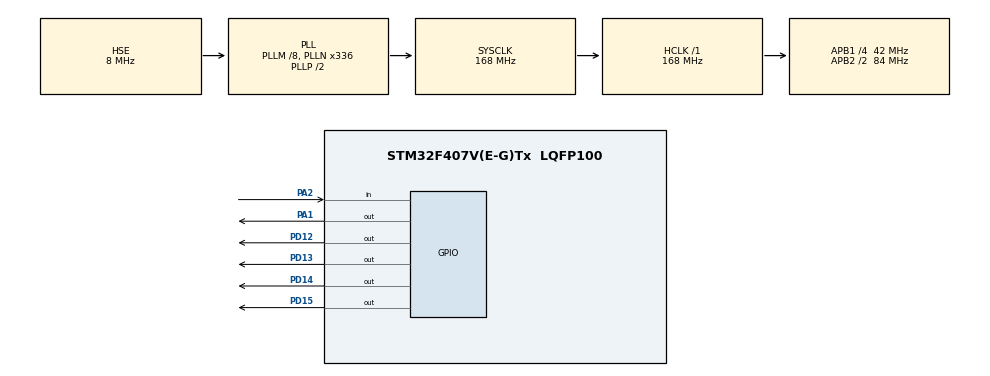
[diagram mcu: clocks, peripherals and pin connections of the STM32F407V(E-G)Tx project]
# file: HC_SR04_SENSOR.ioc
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Mcu.Family=STM32F4
Mcu.Name=STM32F407V(E-G)Tx
Mcu.Package=LQFP100
NVIC.PriorityGroup=NVIC_PRIORITYGROUP_0
PA1.Signal=GPIO_Output
PA2.Signal=GPIO_Input
PD12.Signal=GPIO_Output
PD13.Signal=GPIO_Output
PD14.Signal=GPIO_Output
PD15.Signal=GPIO_Output
PH0-OSC_IN.Mode=HSE-External-Oscillator
PH0-OSC_IN.Signal=RCC_OSC_IN
PH1-OSC_OUT.Mode=HSE-External-Oscillator
PH1-OSC_OUT.Signal=RCC_OSC_OUT
ProjectManager.HeapSize=0x200
ProjectManager.StackSize=0x400
ProjectManager.TargetToolchain=STM32CubeIDE
RCC.48MHZClocksFreq_Value=48000000
RCC.AHBFreq_Value=168000000
RCC.APB1CLKDivider=RCC_HCLK_DIV4
RCC.APB1Freq_Value=42000000
RCC.APB1TimFreq_Value=84000000
RCC.APB2CLKDivider=RCC_HCLK_DIV2
RCC.APB2Freq_Value=84000000
RCC.APB2TimFreq_Value=168000000
RCC.CortexFreq_Value=168000000
RCC.HCLKFreq_Value=168000000
RCC.HSE_VALUE=8000000
RCC.HSI_VALUE=16000000
RCC.PLLM=8
RCC.PLLN=336
RCC.PLLQ=7
RCC.PLLSourceVirtual=RCC_PLLSOURCE_HSE
RCC.SYSCLKFreq_VALUE=168000000
RCC.SYSCLKSource=RCC_SYSCLKSOURCE_PLLCLK
RCC.VCOOutputFreq_Value=336000000
board=STM32F407G-DISC1

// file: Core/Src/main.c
/* USER CODE BEGIN Header */
/**
  ******************************************************************************
  * @file           : main.c
  * @brief          : Main program body
  ******************************************************************************
  * @attention
  *
  * Copyright (c) 2022 STMicroelectronics.
  * All rights reserved.
  *
  * This software is licensed under terms that can be found in the LICENSE file
  * in the root directory of this software component.
  * If no LICENSE file comes with this software, it is provided AS-IS.
  *
  ******************************************************************************
  */
/* USER CODE END Header */
#include "main.h"

/* USER CODE BEGIN Includes */
#include "dwt_stm32_delay.h"
/* USER CODE END Includes */

/* USER CODE BEGIN PV */
uint32_t time;
int16_t distance;
/* USER CODE END PV */

void SystemClock_Config(void);
static void MX_GPIO_Init(void);

/* USER CODE BEGIN 0 */
uint32_t READ_HCSR04(){

uint32_t local_time = 0;

HAL_GPIO_WritePin(GPIOA, GPIO_PIN_1, GPIO_PIN_SET);
DWT_Delay_us(10);
HAL_GPIO_WritePin(GPIOA, GPIO_PIN_1, GPIO_PIN_RESET);

while(!HAL_GPIO_ReadPin(GPIOA, GPIO_PIN_2));

while(HAL_GPIO_ReadPin(GPIOA, GPIO_PIN_2)){
local_time++;

DWT_Delay_us(1);
}
return local_time;

}

/* USER CODE END 0 */

int main(void)
{

  /* MCU Configuration--------------------------------------------------------*/

  /* Reset of all peripherals, Initializes the Flash interface and the Systick. */
  HAL_Init();

  /* Configure the system clock */
  SystemClock_Config();

  /* Initialize all configured peripherals */
  MX_GPIO_Init();
  /* USER CODE BEGIN 2 */

  DWT_Delay_Init();
  /* USER CODE END 2 */

  /* Infinite loop */
  while (1)
  {

    /* USER CODE BEGIN 3 */

	  time = READ_HCSR04();
	  distance = time * 0.034 / 2;

  }
  /* USER CODE END 3 */
}

void SystemClock_Config(void)
{
  RCC_OscInitTypeDef RCC_OscInitStruct = {0};
  RCC_ClkInitTypeDef RCC_ClkInitStruct = {0};

  /** Configure the main internal regulator output voltage
  */
  __HAL_RCC_PWR_CLK_ENABLE();
  __HAL_PWR_VOLTAGESCALING_CONFIG(PWR_REGULATOR_VOLTAGE_SCALE1);

  /** Initializes the RCC Oscillators according to the specified parameters
  * in the RCC_OscInitTypeDef structure.
  */
  RCC_OscInitStruct.OscillatorType = RCC_OSCILLATORTYPE_HSE;
  RCC_OscInitStruct.HSEState = RCC_HSE_ON;
  RCC_OscInitStruct.PLL.PLLState = RCC_PLL_ON;
  RCC_OscInitStruct.PLL.PLLSource = RCC_PLLSOURCE_HSE;
  RCC_OscInitStruct.PLL.PLLM = 8;
  RCC_OscInitStruct.PLL.PLLN = 336;
  RCC_OscInitStruct.PLL.PLLP = RCC_PLLP_DIV2;
  RCC_OscInitStruct.PLL.PLLQ = 7;
  if (HAL_RCC_OscConfig(&RCC_OscInitStruct) != HAL_OK)
  {
    Error_Handler();
  }

  /** Initializes the CPU, AHB and APB buses clocks
  */
  RCC_ClkInitStruct.ClockType = RCC_CLOCKTYPE_HCLK|RCC_CLOCKTYPE_SYSCLK
                              |RCC_CLOCKTYPE_PCLK1|RCC_CLOCKTYPE_PCLK2;
  RCC_ClkInitStruct.SYSCLKSource = RCC_SYSCLKSOURCE_PLLCLK;
  RCC_ClkInitStruct.AHBCLKDivider = RCC_SYSCLK_DIV1;
  RCC_ClkInitStruct.APB1CLKDivider = RCC_HCLK_DIV4;
  RCC_ClkInitStruct.APB2CLKDivider = RCC_HCLK_DIV2;

  if (HAL_RCC_ClockConfig(&RCC_ClkInitStruct, FLASH_LATENCY_5) != HAL_OK)
  {
    Error_Handler();
  }
}

static void MX_GPIO_Init(void)
{
  GPIO_InitTypeDef GPIO_InitStruct = {0};

  /* GPIO Ports Clock Enable */
  __HAL_RCC_GPIOH_CLK_ENABLE();
  __HAL_RCC_GPIOA_CLK_ENABLE();
  __HAL_RCC_GPIOD_CLK_ENABLE();

  /*Configure GPIO pin Output Level */
  HAL_GPIO_WritePin(GPIOA, GPIO_PIN_1, GPIO_PIN_RESET);

  /*Configure GPIO pin Output Level */
  HAL_GPIO_WritePin(GPIOD, GPIO_PIN_12|GPIO_PIN_13|GPIO_PIN_14|GPIO_PIN_15, GPIO_PIN_RESET);

  /*Configure GPIO pin : PA1 */
  GPIO_InitStruct.Pin = GPIO_PIN_1;
  GPIO_InitStruct.Mode = GPIO_MODE_OUTPUT_PP;
  GPIO_InitStruct.Pull = GPIO_NOPULL;
  GPIO_InitStruct.Speed = GPIO_SPEED_FREQ_LOW;
  HAL_GPIO_Init(GPIOA, &GPIO_InitStruct);

  /*Configure GPIO pin : PA2 */
  GPIO_InitStruct.Pin = GPIO_PIN_2;
  GPIO_InitStruct.Mode = GPIO_MODE_INPUT;
  GPIO_InitStruct.Pull = GPIO_NOPULL;
  HAL_GPIO_Init(GPIOA, &GPIO_InitStruct);

  /*Configure GPIO pins : PD12 PD13 PD14 PD15 */
  GPIO_InitStruct.Pin = GPIO_PIN_12|GPIO_PIN_13|GPIO_PIN_14|GPIO_PIN_15;
  GPIO_InitStruct.Mode = GPIO_MODE_OUTPUT_PP;
  GPIO_InitStruct.Pull = GPIO_NOPULL;
  GPIO_InitStruct.Speed = GPIO_SPEED_FREQ_LOW;
  HAL_GPIO_Init(GPIOD, &GPIO_InitStruct);

}

void Error_Handler(void)
{
  __disable_irq();
  while (1)
  {
  }
}
